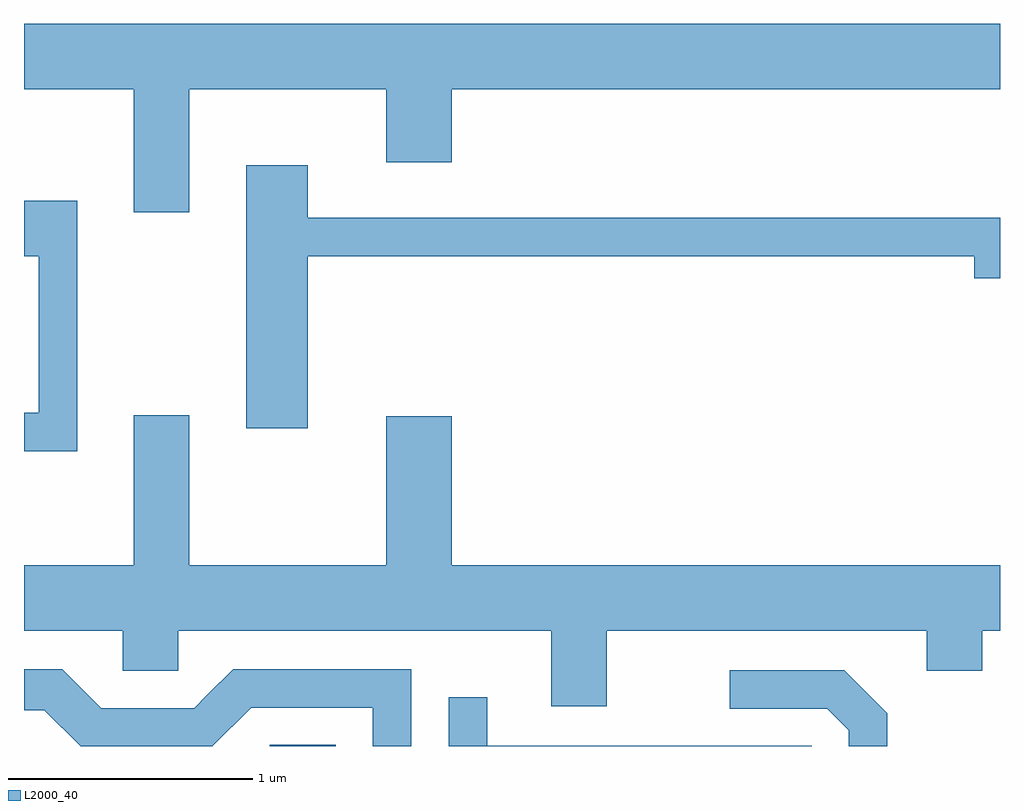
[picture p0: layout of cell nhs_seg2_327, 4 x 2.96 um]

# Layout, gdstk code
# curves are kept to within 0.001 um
import gdstk
lib = gdstk.Library(unit=1e-6, precision=1e-09)
def R(c, l, rs):  # rectangles x0, y0, x1, y1
    for r in rs: c.add(gdstk.rectangle(r[:2], r[2:], *l))
def P(c, l, *ps):  # polygons
    for p in ps: c.add(gdstk.Polygon(p, *l))
L2000_40 = (2000, 40)

nhs_seg2_327 = lib.new_cell('nhs_seg2_327')
R(nhs_seg2_327, L2000_40, [(194.618,1087.802,194.889,1087.809)])
P(nhs_seg2_327, L2000_40, [(194.289,1090.496),(195.096,1090.496),(195.096,1090.196),(195.364,1090.196),(195.364,1090.496),(197.611,1090.496),(197.611,1090.764),(193.611,1090.764),(193.611,1090.496),(194.061,1090.496),(194.061,1089.991),(194.289,1089.991)],
  [(194.774,1089.811),(197.506,1089.811),(197.506,1089.721),(197.611,1089.721),(197.611,1089.969),(194.774,1089.969),(194.774,1090.184),(194.521,1090.184),(194.521,1089.106),(194.774,1089.106)],
  [(193.829,1090.039),(193.611,1090.039),(193.611,1089.811),(193.671,1089.811),(193.671,1089.169),(193.611,1089.169),(193.611,1089.011),(193.829,1089.011)],
  [(195.999,1088.276),(197.311,1088.276),(197.311,1088.111),(197.539,1088.111),(197.539,1088.276),(197.611,1088.276),(197.611,1088.544),(195.364,1088.544),(195.364,1089.154),(195.096,1089.154),(195.096,1088.544),(194.289,1088.544),(194.289,1089.159),(194.061,1089.159),(194.061,1088.544),(193.611,1088.544),(193.611,1088.276),(194.016,1088.276),(194.016,1088.111),(194.244,1088.111),(194.244,1088.276),(195.771,1088.276),(195.771,1087.966),(195.999,1087.966)],
  [(194.542,1087.961),(195.041,1087.961),(195.041,1087.802),(195.199,1087.802),(195.199,1088.119),(194.469,1088.119),(194.309,1087.959),(193.927,1087.959),(193.767,1088.119),(193.611,1088.119),(193.611,1087.951),(193.694,1087.951),(193.843,1087.802),(194.383,1087.802)],
  [(197.149,1087.937),(196.972,1088.114),(196.503,1088.114),(196.503,1087.956),(196.904,1087.956),(196.991,1087.869),(196.991,1087.802),(197.149,1087.802)],
  [(196.839,1087.804),(195.509,1087.804),(195.509,1088.003),(195.351,1088.003),(195.351,1087.802),(196.839,1087.802)])

lib.write_gds('nhs_seg2_327.gds')
